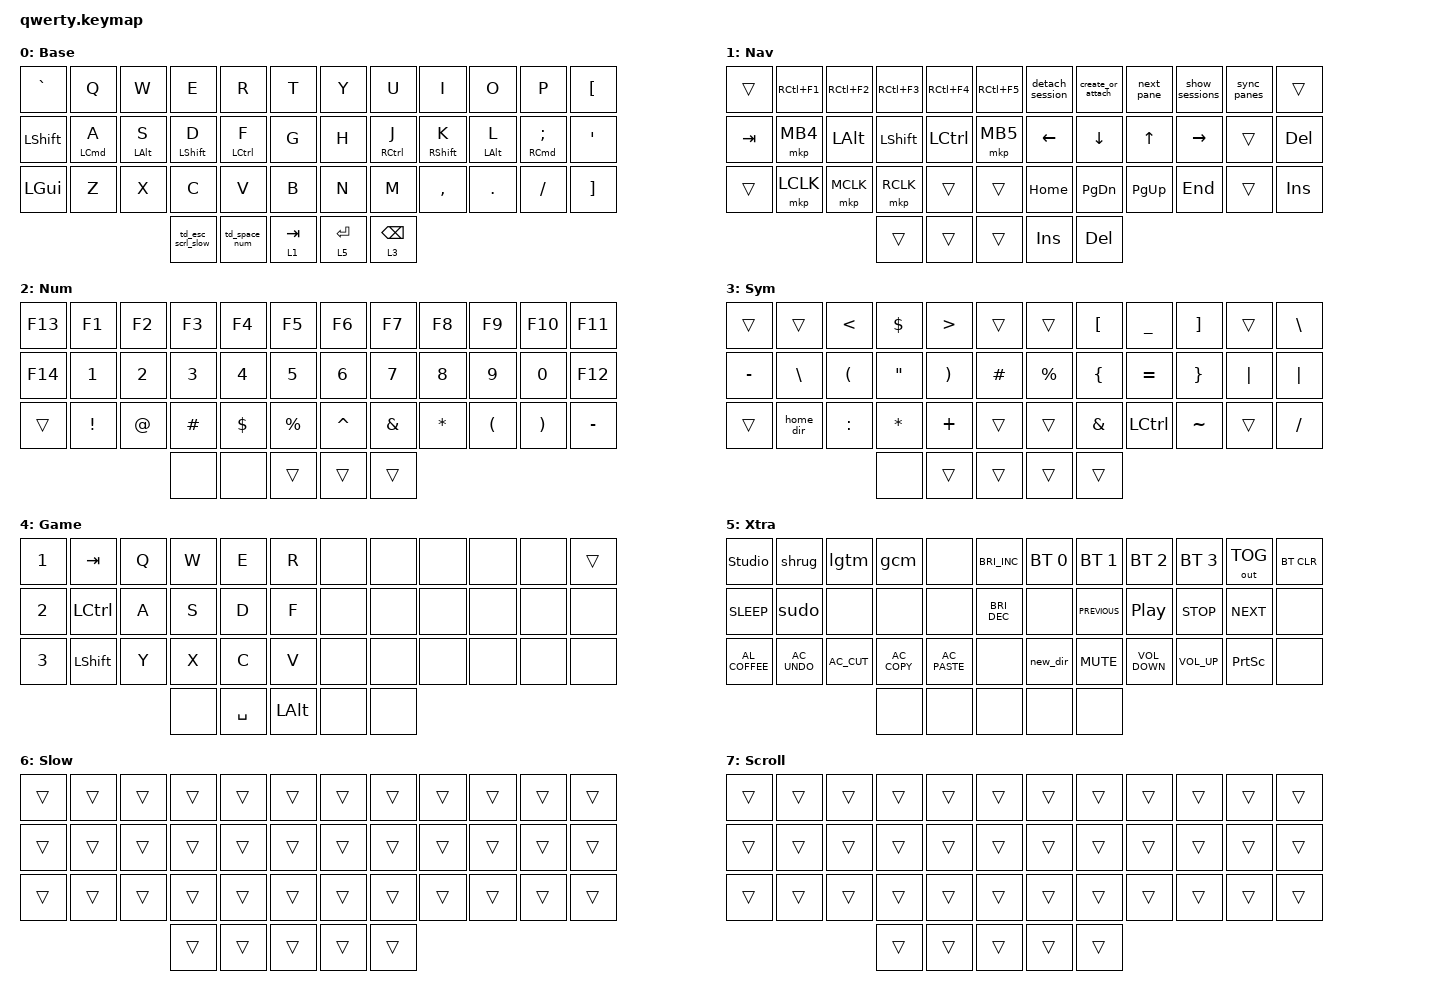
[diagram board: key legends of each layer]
/* upstream bindings and behaviors */

#include <dt-bindings/zmk/mouse.h>
#include <behaviors/mouse_keys.dtsi>
#include <behaviors.dtsi>
#include <dt-bindings/zmk/bt.h>
#include <dt-bindings/zmk/keys.h>
#include <dt-bindings/zmk/outputs.h>
#include <dt-bindings/zmk/pointing.h>

/* local overlays */

#include "macros.dtsi"
#include "behaviors.dtsi"
#include "combos.dtsi"

/ {
    /* --- KEYMAP CONFIG --- */
    // ╭──────┬──────┬──────┬──────┬──────┬──────╮  ╭──────┬──────┬──────┬──────┬──────┬──────╮
    //    00     01     02     03    04      05        06     07     08     09     10     11
    // ├──────┼──────┼──────┼──────┼──────┼──────┤  ├──────┼──────┼──────┼──────┼──────┼──────┤
    //    12     13     14     15    16      17        18     19     20     21     22     23
    // ├──────┼──────┼──────┼──────┼──────┼──────┤  ├──────┼──────┼──────┼──────┼──────┼──────┤
    //    24     25     26     27    28      29        30     31     32     33     34     35
    // ╰──────┴──────┴──────┼──────┼──────┼──────┤  ├──────┼──────┼──────┴──────┴──────┴──────╯
    //                         36     37     38        39     40
    //                      ╰──────┴──────┴──────╯  ╰──────┴──────╯
    // #define BASE    0
    // #define NUM     1
    // #define NAV     2
    // #define SYM     3
    // #define GAME    4
    // #define EXTRAS  5
    // #define SLOW    6
    // #define SCROLL  7

    keymap {
        compatible = "zmk,keymap";

        BASE {
            display-name = "Base";
            bindings = <
&kp GRAVE       &kp Q            &kp W            &kp E              &kp R             &kp T        &kp Y        &kp U              &kp I              &kp O             &kp P                     &kp LEFT_BRACKET
&kp LEFT_SHIFT  &ht_left LCMD A  &ht_left LALT S  &ht_left LSHFT D   &ht_left LCTRL F  &kp G        &kp H        &ht_right RCTRL J  &ht_right RSHFT K  &ht_right LALT L  &ht_right RCMD SEMICOLON  &kp SQT
&kp LEFT_GUI    &kp Z            &kp X            &kp C              &kp V             &kp B        &kp N        &kp M              &kp COMMA          &kp PERIOD        &kp SLASH                 &kp RIGHT_BRACKET
                                                  &td_esc_scrl_slow  &td_space_num     &lt 1 TAB    &lt 5 ENTER  &lt 3 BACKSPACE
            >;
        };

        NAV {
            display-name = "Nav";
            bindings = <
&trans   &kp RC(F1)  &kp RC(F2)  &kp RC(F3)  &kp RC(F4)  &kp RC(F5)    &detach_session  &create_or_attach  &next_pane    &show_sessions  &sync_panes  &trans
&kp TAB  &mkp MB4    &kp LALT    &kp LSHFT   &kp LCTRL   &mkp MB5      &kp LEFT_ARROW   &kp DOWN           &kp UP_ARROW  &kp RIGHT       &trans       &kp DELETE
&trans   &mkp LCLK   &mkp MCLK   &mkp RCLK   &trans      &trans        &kp HOME         &kp PAGE_DOWN      &kp PAGE_UP   &kp END         &trans       &kp INS
                                 &trans      &trans      &trans        &kp INSERT       &kp DELETE
            >;
        };

        NUM {
            display-name = "Num";
            bindings = <
&kp F13  &kp F1           &kp F2        &kp F3        &kp F4        &kp F5         &kp F6        &kp F7         &kp F8        &kp F9                &kp F10                &kp F11
&kp F14  &kp NUMBER_1     &kp NUMBER_2  &kp NUMBER_3  &kp NUMBER_4  &kp N5         &kp NUMBER_6  &kp N7         &kp N8        &kp N9                &kp N0                 &kp F12
&trans   &kp EXCLAMATION  &kp AT_SIGN   &kp HASH      &kp DOLLAR    &kp PERCENT    &kp CARET     &kp AMPERSAND  &kp ASTERISK  &kp LEFT_PARENTHESIS  &kp RIGHT_PARENTHESIS  &kp MINUS
                                        &none         &none         &trans         &trans        &trans
            >;
        };

        SYM {
            display-name = "Sym";
            bindings = <
&trans     &trans         &kp LESS_THAN         &kp DOLLAR         &kp GREATER_THAN       &trans      &trans       &kp LEFT_BRACKET  &kp UNDERSCORE  &kp RBKT         &trans    &kp BSLH
&kp MINUS  &kp BACKSLASH  &kp LEFT_PARENTHESIS  &kp DOUBLE_QUOTES  &kp RIGHT_PARENTHESIS  &kp HASH    &kp PERCENT  &kp LEFT_BRACE    &kp EQUAL       &kp RIGHT_BRACE  &kp PIPE  &kp PIPE
&trans     &home_dir      &kp COLON             &kp ASTERISK       &kp PLUS               &trans      &trans       &kp AMPERSAND     &kp LCTRL       &kp TILDE        &trans    &kp FSLH
                                                &none              &trans                 &trans      &trans       &trans
            >;
        };

        GAME {
            display-name = "Game";
            bindings = <
&kp N1  &kp TAB    &kp Q  &kp W  &kp E      &kp R           &none  &none  &none  &none  &none  &trans
&kp N2  &kp LCTRL  &kp A  &kp S  &kp D      &kp F           &none  &none  &none  &none  &none  &none
&kp N3  &kp LSHFT  &kp Y  &kp X  &kp C      &kp V           &none  &none  &none  &none  &none  &none
                          &none  &kp SPACE  &kp LEFT_ALT    &none  &none
            >;
        };

        EXTRAS {
            display-name = "Xtra";
            bindings = <
&studio_unlock   &shrug         &lgtm         &gcm           &none           &kp C_BRIGHTNESS_INC    &bt BT_SEL 0  &bt BT_SEL 1    &bt BT_SEL 2       &bt BT_SEL 3     &out OUT_TOG     &bt BT_CLR
&kp C_SLEEP      &sudo          &none         &none          &none           &kp C_BRIGHTNESS_DEC    &none         &kp C_PREVIOUS  &kp C_PLAY_PAUSE   &kp C_STOP       &kp C_NEXT       &none
&kp C_AL_COFFEE  &kp C_AC_UNDO  &kp C_AC_CUT  &kp C_AC_COPY  &kp C_AC_PASTE  &none                   &new_dir      &kp K_MUTE      &kp C_VOLUME_DOWN  &kp C_VOLUME_UP  &kp PRINTSCREEN  &none
                                              &none          &none           &none                   &none         &none
            >;
        };

        SLOW {
            display-name = "Slow";
            bindings = <
&trans  &trans  &trans  &trans  &trans  &trans    &trans  &trans  &trans  &trans  &trans  &trans
&trans  &trans  &trans  &trans  &trans  &trans    &trans  &trans  &trans  &trans  &trans  &trans
&trans  &trans  &trans  &trans  &trans  &trans    &trans  &trans  &trans  &trans  &trans  &trans
                        &trans  &trans  &trans    &trans  &trans
            >;
        };

        SCROLL {
            display-name = "Scroll";
            bindings = <
&trans  &trans  &trans  &trans  &trans  &trans    &trans  &trans  &trans  &trans  &trans  &trans
&trans  &trans  &trans  &trans  &trans  &trans    &trans  &trans  &trans  &trans  &trans  &trans
&trans  &trans  &trans  &trans  &trans  &trans    &trans  &trans  &trans  &trans  &trans  &trans
                        &trans  &trans  &trans    &trans  &trans
            >;
        };
    };
};
